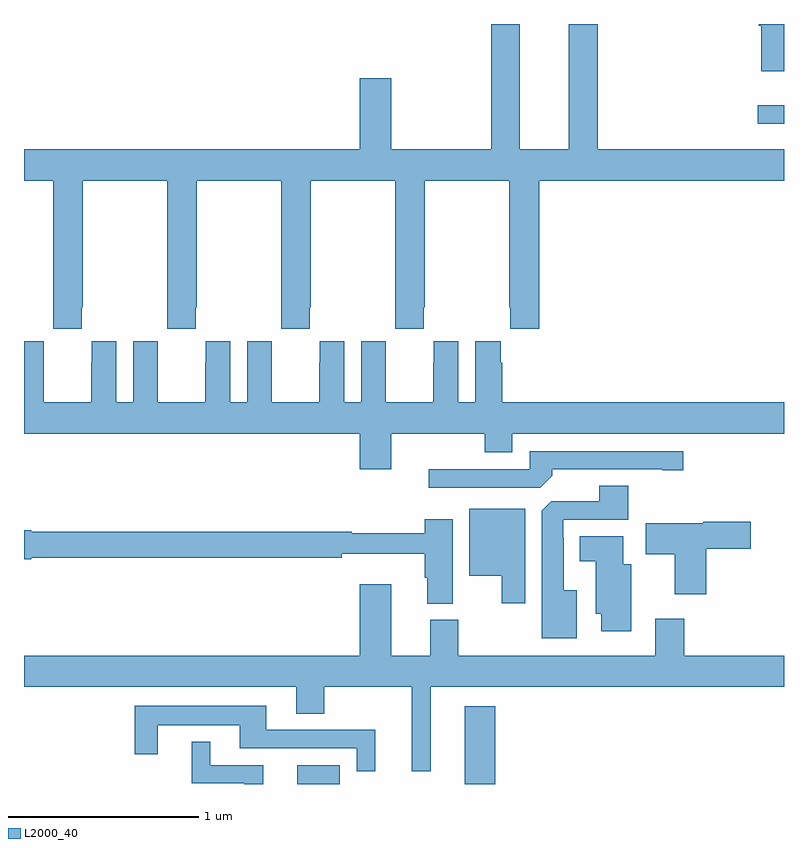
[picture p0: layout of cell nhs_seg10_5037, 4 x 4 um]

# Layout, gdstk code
import gdstk
lib = gdstk.Library(unit=1e-6, precision=1e-09)
def R(c, l, rs):  # rectangles x0, y0, x1, y1
    for r in rs: c.add(gdstk.rectangle(r[:2], r[2:], *l))
def P(c, l, *ps):  # polygons
    for p in ps: c.add(gdstk.Polygon(p, *l))
L2000_40 = (2000, 40)

nhs_seg10_5037 = lib.new_cell('nhs_seg10_5037')
R(nhs_seg10_5037, L2000_40, [(404.438,1270.5,404.662,1270.6), (405.32,1270.5,405.479,1270.909), (406.863,1273.976,407,1274.073)])
P(nhs_seg10_5037, L2000_40, [(403.305,1273.009),(403.308,1273.009),(403.308,1273.676),(403.753,1273.676),(403.753,1273.009),(403.755,1273.009),(403.755,1272.897),(403.905,1272.897),(403.905,1273.009),(403.908,1273.009),(403.908,1273.676),(404.353,1273.676),(404.353,1273.009),(404.355,1273.009),(404.355,1272.897),(404.505,1272.897),(404.505,1273.009),(404.508,1273.009),(404.508,1273.676),(404.953,1273.676),(404.953,1273.009),(404.955,1273.009),(404.955,1272.897),(405.105,1272.897),(405.105,1273.009),(405.108,1273.009),(405.108,1273.676),(405.553,1273.676),(405.553,1273.009),(405.559,1273.009),(405.559,1272.897),(405.713,1272.897),(405.713,1273.676),(407,1273.676),(407,1273.84),(406.019,1273.84),(406.019,1274.5),(405.866,1274.5),(405.866,1273.84),(405.61,1273.84),(405.61,1274.5),(405.458,1274.5),(405.458,1273.84),(404.932,1273.84),(404.932,1274.215),(404.768,1274.215),(404.768,1273.84),(403,1273.84),(403,1273.676),(403.153,1273.676),(403.153,1273.009),(403.155,1273.009),(403.155,1272.897),(403.305,1272.897)],
  [(407,1274.5),(406.868,1274.5),(406.868,1274.492),(406.88,1274.492),(406.88,1274.252),(407,1274.252)],
  [(404.932,1272.344),(405.424,1272.344),(405.424,1272.245),(405.571,1272.245),(405.571,1272.344),(407,1272.344),(407,1272.508),(405.518,1272.508),(405.518,1272.716),(405.508,1272.716),(405.508,1272.829),(405.374,1272.829),(405.374,1272.508),(405.286,1272.508),(405.286,1272.829),(405.156,1272.829),(405.156,1272.716),(405.155,1272.716),(405.155,1272.508),(404.905,1272.508),(404.905,1272.716),(404.904,1272.716),(404.904,1272.829),(404.774,1272.829),(404.774,1272.508),(404.686,1272.508),(404.686,1272.829),(404.556,1272.829),(404.556,1272.716),(404.555,1272.716),(404.555,1272.508),(404.305,1272.508),(404.305,1272.716),(404.304,1272.716),(404.304,1272.829),(404.174,1272.829),(404.174,1272.508),(404.086,1272.508),(404.086,1272.829),(403.956,1272.829),(403.956,1272.716),(403.955,1272.716),(403.955,1272.508),(403.705,1272.508),(403.705,1272.716),(403.704,1272.716),(403.704,1272.829),(403.574,1272.829),(403.574,1272.508),(403.486,1272.508),(403.486,1272.829),(403.356,1272.829),(403.356,1272.716),(403.355,1272.716),(403.355,1272.508),(403.105,1272.508),(403.105,1272.716),(403.104,1272.716),(403.104,1272.829),(403,1272.829),(403,1272.344),(404.768,1272.344),(404.768,1272.156),(404.932,1272.156)],
  [(405.779,1272.122),(405.779,1272.156),(406.358,1272.156),(406.358,1272.151),(406.471,1272.151),(406.471,1272.252),(405.663,1272.252),(405.663,1272.156),(405.129,1272.156),(405.129,1272.06),(405.717,1272.06)],
  [(405.91,1271.521),(405.841,1271.521),(405.841,1271.795),(405.837,1271.795),(405.837,1271.892),(406.181,1271.892),(406.181,1272.071),(406.028,1272.071),(406.028,1271.988),(405.774,1271.988),(405.725,1271.939),(405.725,1271.267),(405.91,1271.267)],
  [(405.637,1271.95),(405.344,1271.95),(405.344,1271.597),(405.515,1271.597),(405.515,1271.451),(405.637,1271.451)],
  [(405.256,1271.893),(405.11,1271.893),(405.11,1271.821),(404.726,1271.821),(404.726,1271.828),(403.038,1271.828),(403.038,1271.836),(403,1271.836),(403,1271.684),(403.038,1271.684),(403.038,1271.692),(404.672,1271.692),(404.672,1271.711),(405.11,1271.711),(405.11,1271.585),(405.122,1271.585),(405.122,1271.449),(405.256,1271.449)],
  [(406.592,1271.738),(406.825,1271.738),(406.825,1271.88),(406.575,1271.88),(406.575,1271.872),(406.272,1271.872),(406.272,1271.71),(406.424,1271.71),(406.424,1271.499),(406.592,1271.499)],
  [(406.195,1271.656),(406.153,1271.656),(406.153,1271.803),(405.926,1271.803),(405.926,1271.672),(406.01,1271.672),(406.01,1271.397),(406.037,1271.397),(406.037,1271.304),(406.195,1271.304)],
  [(405.14,1271.012),(407,1271.012),(407,1271.176),(406.475,1271.176),(406.475,1271.371),(406.322,1271.371),(406.322,1271.176),(405.285,1271.176),(405.285,1271.364),(405.137,1271.364),(405.137,1271.176),(404.932,1271.176),(404.932,1271.551),(404.768,1271.551),(404.768,1271.176),(403,1271.176),(403,1271.012),(404.432,1271.012),(404.432,1270.87),(404.58,1270.87),(404.58,1271.012),(405.041,1271.012),(405.041,1270.566),(405.14,1270.566)],
  [(404.849,1270.785),(404.275,1270.785),(404.275,1270.912),(403.584,1270.912),(403.584,1270.656),(403.705,1270.656),(403.705,1270.808),(404.135,1270.808),(404.135,1270.689),(404.751,1270.689),(404.751,1270.566),(404.849,1270.566)],
  [(404.258,1270.599),(403.981,1270.599),(403.981,1270.723),(403.883,1270.723),(403.883,1270.503),(404.16,1270.503),(404.16,1270.5),(404.258,1270.5)])

lib.write_gds('nhs_seg10_5037.gds')
